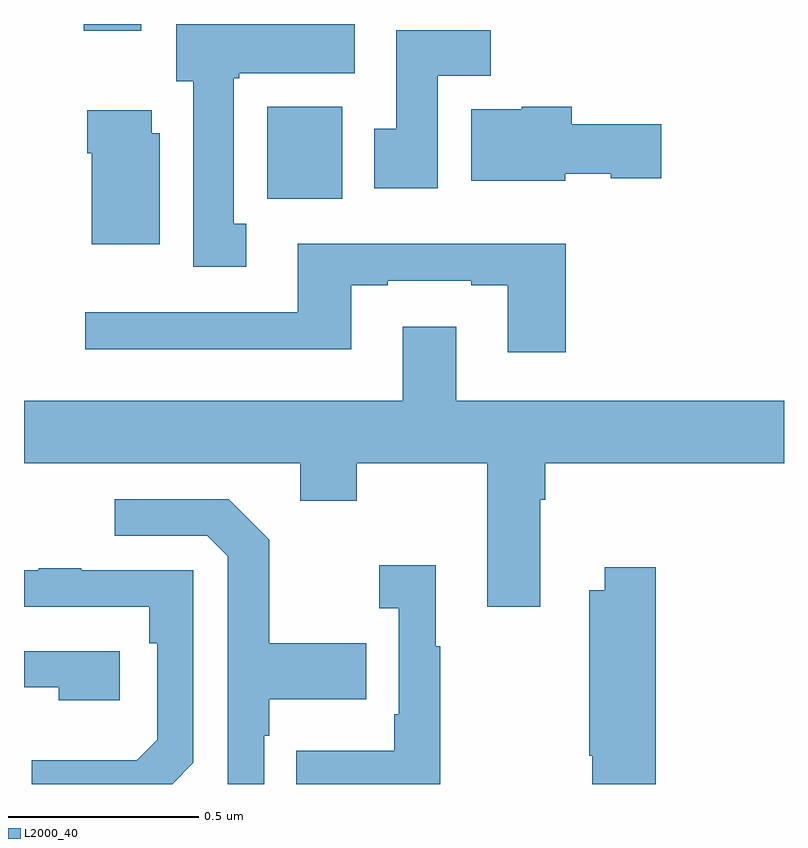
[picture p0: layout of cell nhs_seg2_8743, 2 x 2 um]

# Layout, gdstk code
import gdstk
lib = gdstk.Library(unit=1e-6, precision=1e-09)
def R(c, l, rs):  # rectangles x0, y0, x1, y1
    for r in rs: c.add(gdstk.rectangle(r[:2], r[2:], *l))
def P(c, l, *ps):  # polygons
    for p in ps: c.add(gdstk.Polygon(p, *l))
L2000_40 = (2000, 40)

nhs_seg2_8743 = lib.new_cell('nhs_seg2_8743')
R(nhs_seg2_8743, L2000_40, [(220.64,640.34,220.837,640.582), (220.157,640.782,220.309,640.8)])
P(nhs_seg2_8743, L2000_40, [(220.585,640.274),(220.552,640.274),(220.552,640.657),(220.566,640.657),(220.566,640.67),(220.87,640.67),(220.87,640.8),(220.4,640.8),(220.4,640.65),(220.445,640.65),(220.445,640.161),(220.585,640.161)],
  [(221.089,640.664),(221.228,640.664),(221.228,640.783),(220.979,640.783),(220.979,640.524),(220.922,640.524),(220.922,640.368),(221.089,640.368)],
  [(221.424,640.406),(221.544,640.406),(221.544,640.394),(221.677,640.394),(221.677,640.536),(221.441,640.536),(221.441,640.582),(221.31,640.582),(221.31,640.576),(221.177,640.576),(221.177,640.388),(221.424,640.388)],
  [(220.357,640.512),(220.336,640.512),(220.336,640.573),(220.166,640.573),(220.166,640.46),(220.178,640.46),(220.178,640.22),(220.357,640.22)],
  [(221.426,640.222),(220.721,640.222),(220.721,640.041),(220.161,640.041),(220.161,639.944),(220.861,639.944),(220.861,640.113),(220.957,640.113),(220.957,640.125),(221.177,640.125),(221.177,640.113),(221.273,640.113),(221.273,639.936),(221.426,639.936)],
  [(221.137,640.003),(220.997,640.003),(220.997,639.808),(220,639.808),(220,639.644),(220.727,639.644),(220.727,639.545),(220.875,639.545),(220.875,639.644),(221.219,639.644),(221.219,639.267),(221.359,639.267),(221.359,639.548),(221.372,639.548),(221.372,639.644),(222,639.644),(222,639.808),(221.137,639.808)],
  [(220.632,638.927),(220.645,638.927),(220.645,639.023),(220.901,639.023),(220.901,639.171),(220.645,639.171),(220.645,639.443),(220.539,639.549),(220.239,639.549),(220.239,639.453),(220.482,639.453),(220.536,639.399),(220.536,638.8),(220.632,638.8)],
  [(221.095,639.163),(221.083,639.163),(221.083,639.376),(220.935,639.376),(220.935,639.263),(220.986,639.263),(220.986,638.983),(220.974,638.983),(220.974,638.887),(220.717,638.887),(220.717,638.8),(221.095,638.8)],
  [(221.663,639.37),(221.528,639.37),(221.528,639.31),(221.488,639.31),(221.488,638.875),(221.495,638.875),(221.495,638.8),(221.663,638.8)],
  [(220.446,638.856),(220.446,639.363),(220.151,639.363),(220.151,639.368),(220.039,639.368),(220.039,639.363),(220,639.363),(220,639.267),(220.33,639.267),(220.33,639.17),(220.35,639.17),(220.35,638.916),(220.297,638.863),(220.02,638.863),(220.02,638.8),(220.39,638.8)],
  [(220.252,639.15),(220,639.15),(220,639.054),(220.091,639.054),(220.091,639.02),(220.252,639.02)])

lib.write_gds('nhs_seg2_8743.gds')
